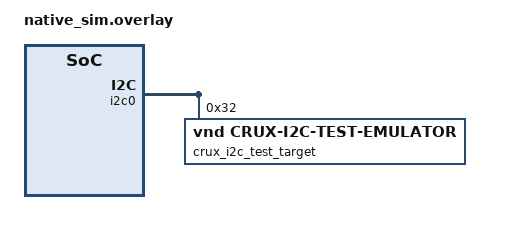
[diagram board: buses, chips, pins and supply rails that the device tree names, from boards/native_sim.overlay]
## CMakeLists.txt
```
cmake_minimum_required(VERSION 3.20.0)
set(DTS_ROOT ${CMAKE_CURRENT_SOURCE_DIR})
find_package(Zephyr REQUIRED HINTS $ENV{ZEPHYR_BASE})
project(crux_i2c_zephyr_test LANGUAGES C)

target_sources(app PRIVATE
    src/main.c
    src/i2c_emulator.c
)
target_link_libraries(app PRIVATE crux::i2c)
target_compile_options(app PRIVATE -Wall -Wextra -Werror)
```

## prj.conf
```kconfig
CONFIG_ZTEST=y
CONFIG_CRUX_PILOT_MODULE=y
CONFIG_CRUX_I2C=y
CONFIG_I2C=y
CONFIG_I2C_EMUL=y
CONFIG_EMUL=y
```

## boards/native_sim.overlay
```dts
/* Software-only I2C target for the Crux provider contract test. */
/ {
	aliases {
		crux-i2c0 = &i2c0;
	};
};

&i2c0 {
	status = "okay";
	crux_i2c_test_target: crux-i2c-test@32 {
		compatible = "vnd,crux-i2c-test-emulator";
		reg = <0x32>;
		status = "okay";
	};
};
```

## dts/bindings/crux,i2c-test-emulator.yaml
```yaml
description: Crux I2C provider software test target
compatible: "crux,i2c-test-emulator"
include: i2c-device.yaml
```

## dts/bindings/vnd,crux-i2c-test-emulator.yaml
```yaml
description: Crux I2C provider software test target
compatible: "vnd,crux-i2c-test-emulator"
include: i2c-device.yaml
```

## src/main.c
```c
#include <crux/i2c.h>
#include <zephyr/device.h>
#include <zephyr/devicetree.h>
#include <zephyr/drivers/emul.h>
#include <zephyr/kernel.h>
#include <zephyr/ztest.h>

#include "i2c_emulator.h"

#define EMUL_NODE DT_NODELABEL(crux_i2c_test_target)

static const struct crux_i2c_emulator_test_api *emulator_api(void)
{
    const struct emul *emulator = EMUL_DT_GET(EMUL_NODE);
    return emulator->backend_api;
}

ZTEST(crux_i2c, test_write_and_repeated_start_read)
{
    const uint8_t write[] = {0x10, 0xA5};
    uint8_t reg = 0x10;
    uint8_t value = 0;

    zassert_equal(crux_i2c_transfer(0x32, write, sizeof(write), NULL, 0), CRUX_OK);
    zassert_equal(crux_i2c_transfer(0x32, &reg, sizeof(reg), &value, sizeof(value)), CRUX_OK);
    zassert_equal(value, 0xA5);
    zassert_equal(emulator_api()->message_count(), 2);
    zassert_true(emulator_api()->used_repeated_start());
}

ZTEST(crux_i2c, test_unmatched_target_maps_native_error)
{
    uint8_t value = 0;
    zassert_equal(crux_i2c_transfer(0x33, NULL, 0, &value, sizeof(value)), CRUX_ERR_IO);
}

ZTEST(crux_i2c, test_read_only_transfer)
{
    const uint8_t write[] = {0x11, 0x5A};
    uint8_t reg = 0x11;
    uint8_t value = 0;

    zassert_equal(crux_i2c_transfer(0x32, write, sizeof(write), NULL, 0), CRUX_OK);
    zassert_equal(crux_i2c_transfer(0x32, &reg, sizeof(reg), NULL, 0), CRUX_OK);
    zassert_equal(crux_i2c_transfer(0x32, NULL, 0, &value, sizeof(value)), CRUX_OK);
    zassert_equal(value, 0x5A);
    zassert_equal(emulator_api()->message_count(), 1);
    zassert_false(emulator_api()->used_repeated_start());
}

ZTEST(crux_i2c, test_unsupported_native_operation_maps_to_not_supported)
{
    /* The emulated target reports -ENOTSUP for a write whose first byte is the marker. */
    const uint8_t marker[] = {0xEE};

    zassert_equal(crux_i2c_transfer(0x32, marker, sizeof(marker), NULL, 0), CRUX_ERR_NOT_SUPPORTED);
}

ZTEST(crux_i2c, test_unimplemented_native_operation_maps_to_not_supported)
{
    /* The emulated target reports -ENOSYS for a write whose first byte is this marker. */
    const uint8_t marker[] = {0xED};

    zassert_equal(crux_i2c_transfer(0x32, marker, sizeof(marker), NULL, 0), CRUX_ERR_NOT_SUPPORTED);
}

static K_SEM_DEFINE(isr_done, 0, 1);
static volatile bool isr_ran_in_interrupt;
static volatile crux_status_t isr_status;
static volatile uint8_t isr_value;

static void isr_expiry(struct k_timer *timer)
{
    const uint8_t reg = 0x10;
    uint8_t value = 0x5A;

    ARG_UNUSED(timer);
    isr_ran_in_interrupt = k_is_in_isr();
    isr_status = crux_i2c_transfer(0x32, &reg, sizeof(reg), &value, sizeof(value));
    isr_value = value;
    k_sem_give(&isr_done);
}

static K_TIMER_DEFINE(isr_timer, isr_expiry, NULL);

ZTEST(crux_i2c, test_transfer_from_interrupt_context_is_rejected)
{
    k_timer_start(&isr_timer, K_MSEC(1), K_NO_WAIT);
    zassert_equal(k_sem_take(&isr_done, K_MSEC(500)), 0);
    zassert_true(isr_ran_in_interrupt, "the timer callback must run in interrupt context");
    zassert_equal(isr_status, CRUX_ERR_NOT_SUPPORTED);
    zassert_equal(isr_value, 0x5A, "the read buffer must be untouched when rejected");
}

ZTEST_SUITE(crux_i2c, NULL, NULL, NULL, NULL, NULL);
```

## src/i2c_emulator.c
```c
#define DT_DRV_COMPAT vnd_crux_i2c_test_emulator

#include <errno.h>
#include <stdbool.h>
#include <stdint.h>
#include <string.h>
#include <zephyr/device.h>
#include <zephyr/devicetree.h>
#include <zephyr/drivers/emul.h>
#include <zephyr/drivers/i2c.h>
#include <zephyr/drivers/i2c_emul.h>
#include <zephyr/sys/util.h>

#include "i2c_emulator.h"

struct test_data {
    uint8_t registers[256];
    uint8_t selected_register;
    int message_count;
    bool repeated_start;
};

static struct test_data data_0;

static int test_transfer(const struct emul *target, struct i2c_msg *messages, int count,
                         int address)
{
    struct test_data *data = target->data;
    if (address != DT_INST_REG_ADDR(0) || count < 1 || count > 2) {
        return -ENXIO;
    }

    data->message_count = count;
    data->repeated_start = count == 2 && (messages[1].flags & I2C_MSG_RESTART) != 0;
    if (count == 2 && !data->repeated_start) {
        return -EINVAL;
    }

    if ((messages[0].flags & I2C_MSG_READ) == 0) {
        if (messages[0].len == 0) {
            return -EINVAL;
        }
        if (messages[0].buf[0] == 0xEE) {
            return -ENOTSUP;
        }
        if (messages[0].buf[0] == 0xED) {
            return -ENOSYS;
        }
        data->selected_register = messages[0].buf[0];
        for (size_t i = 1; i < messages[0].len; ++i) {
            data->registers[data->selected_register++] = messages[0].buf[i];
        }
    }

    for (int m = 0; m < count; ++m) {
        if ((messages[m].flags & I2C_MSG_READ) != 0) {
            for (size_t i = 0; i < messages[m].len; ++i) {
                messages[m].buf[i] = data->registers[data->selected_register++];
            }
        }
    }
    return 0;
}

static const struct i2c_emul_api bus_api = {.transfer = test_transfer};

static int test_message_count(void)
{
    return data_0.message_count;
}

static bool test_used_repeated_start(void)
{
    return data_0.repeated_start;
}

static const struct crux_i2c_emulator_test_api backend_api = {
    .message_count = test_message_count,
    .used_repeated_start = test_used_repeated_start,
};

static int emul_init(const struct emul *target, const struct device *parent)
{
    ARG_UNUSED(target);
    ARG_UNUSED(parent);
    return 0;
}

#define CRUX_I2C_TEST_EMUL(n)                                                                      \
    static struct test_data data_##n;                                                              \
    DEVICE_DT_INST_DEFINE(n, NULL, NULL, &data_##n, NULL, POST_KERNEL, CONFIG_I2C_INIT_PRIORITY,   \
                          NULL);                                                                   \
    EMUL_DT_INST_DEFINE(n, emul_init, &data_##n, NULL, &bus_api, &backend_api)

DT_INST_FOREACH_STATUS_OKAY(CRUX_I2C_TEST_EMUL)
```

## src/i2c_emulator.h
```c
#ifndef CRUX_I2C_EMULATOR_H
#define CRUX_I2C_EMULATOR_H

#include <stdbool.h>

struct crux_i2c_emulator_test_api {
    int (*message_count)(void);
    bool (*used_repeated_start)(void);
};

#endif
```
